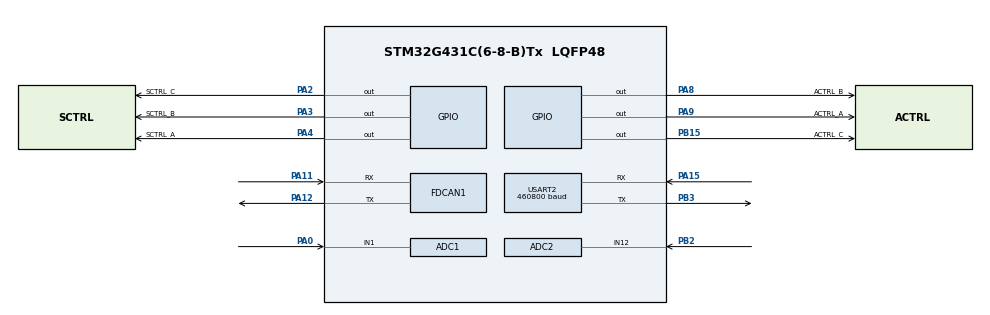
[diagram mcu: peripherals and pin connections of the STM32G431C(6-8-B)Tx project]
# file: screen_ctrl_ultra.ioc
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ADC1.Channel-0\#ChannelRegularConversion=ADC_CHANNEL_1
ADC1.NbrOfConversionFlag=1
ADC1.OffsetNumber-0\#ChannelRegularConversion=ADC_OFFSET_NONE
ADC1.Rank-0\#ChannelRegularConversion=1
ADC1.SamplingTime-0\#ChannelRegularConversion=ADC_SAMPLETIME_2CYCLES_5
ADC1.master=1
ADC2.Channel-0\#ChannelRegularConversion=ADC_CHANNEL_12
ADC2.NbrOfConversionFlag=1
ADC2.OffsetNumber-0\#ChannelRegularConversion=ADC_OFFSET_NONE
ADC2.Rank-0\#ChannelRegularConversion=1
ADC2.SamplingTime-0\#ChannelRegularConversion=ADC_SAMPLETIME_2CYCLES_5
Dma.Request0=USART2_TX
Dma.USART2_TX.0.Direction=DMA_MEMORY_TO_PERIPH
Dma.USART2_TX.0.EventEnable=DISABLE
Dma.USART2_TX.0.Instance=DMA1_Channel1
Dma.USART2_TX.0.MemDataAlignment=DMA_MDATAALIGN_BYTE
Dma.USART2_TX.0.MemInc=DMA_MINC_ENABLE
Dma.USART2_TX.0.Mode=DMA_NORMAL
Dma.USART2_TX.0.PeriphDataAlignment=DMA_PDATAALIGN_BYTE
Dma.USART2_TX.0.PeriphInc=DMA_PINC_DISABLE
Dma.USART2_TX.0.Polarity=HAL_DMAMUX_REQ_GEN_RISING
Dma.USART2_TX.0.Priority=DMA_PRIORITY_LOW
Dma.USART2_TX.0.RequestNumber=1
Dma.USART2_TX.0.SignalID=NONE
Dma.USART2_TX.0.SyncEnable=DISABLE
Dma.USART2_TX.0.SyncPolarity=HAL_DMAMUX_SYNC_NO_EVENT
Dma.USART2_TX.0.SyncRequestNumber=1
Dma.USART2_TX.0.SyncSignalID=NONE
FDCAN1.AutoRetransmission=ENABLE
FDCAN1.NominalPrescaler=10
FDCAN1.NominalTimeSeg1=14
Mcu.Family=STM32G4
Mcu.Name=STM32G431C(6-8-B)Tx
Mcu.Package=LQFP48
NVIC.DMA1_Channel1_IRQn=true\:0\:0\:false\:false\:true\:false\:true
NVIC.FDCAN1_IT0_IRQn=true\:0\:0\:false\:false\:true\:true\:true
NVIC.FDCAN1_IT1_IRQn=true\:0\:0\:false\:false\:true\:true\:true
NVIC.PriorityGroup=NVIC_PRIORITYGROUP_4
PA0.Mode=IN1-Single-Ended
PA0.Signal=ADC1_IN1
PA11.Mode=FDCANFD
PA11.Signal=FDCAN1_RX
PA12.Mode=FDCANFD
PA12.Signal=FDCAN1_TX
PA13.Mode=Serial_Wire
PA13.Signal=SYS_JTMS-SWDIO
PA14.Mode=Serial_Wire
PA14.Signal=SYS_JTCK-SWCLK
PA15.Mode=Asynchronous
PA15.Signal=USART2_RX
PA2.GPIO_Label=SCTRL_C
PA2.Signal=GPIO_Output
PA3.GPIO_Label=SCTRL_B
PA3.Signal=GPIO_Output
PA4.GPIO_Label=SCTRL_A
PA4.Signal=GPIO_Output
PA8.GPIO_Label=ACTRL_B
PA8.Signal=GPIO_Output
PA9.GPIO_Label=ACTRL_A
PA9.Signal=GPIO_Output
PB15.GPIO_Label=ACTRL_C
PB15.Signal=GPIO_Output
PB2.Mode=IN12-Single-Ended
PB2.Signal=ADC2_IN12
PB3.Mode=Asynchronous
PB3.Signal=USART2_TX
PF0-OSC_IN.Mode=HSE-External-Oscillator
PF0-OSC_IN.Signal=RCC_OSC_IN
PF1-OSC_OUT.Mode=HSE-External-Oscillator
PF1-OSC_OUT.Signal=RCC_OSC_OUT
ProjectManager.HeapSize=0x200
ProjectManager.StackSize=0x400
ProjectManager.TargetToolchain=Makefile
RCC.ADC12CLockSelection=RCC_ADC12CLKSOURCE_PLL
RCC.ADC12Freq_Value=170000000
RCC.AHBFreq_Value=170000000
RCC.APB1Freq_Value=170000000
RCC.APB1TimFreq_Value=170000000
RCC.APB2Freq_Value=170000000
RCC.APB2TimFreq_Value=170000000
RCC.CortexFreq_Value=170000000
RCC.EXTERNAL_CLOCK_VALUE=12288000
RCC.HCLKFreq_Value=170000000
RCC.HSE_VALUE=8000000
RCC.HSI48_VALUE=48000000
RCC.HSI_VALUE=16000000
RCC.LSE_VALUE=32768
RCC.PLLM=RCC_PLLM_DIV2
RCC.PLLN=85
RCC.PLLSourceVirtual=RCC_PLLSOURCE_HSE
RCC.SYSCLKFreq_VALUE=170000000
RCC.SYSCLKSource=RCC_SYSCLKSOURCE_PLLCLK
RCC.USBFreq_Value=170000000
RCC.VCOOutputFreq_Value=340000000
TIM1.PeriodNoDither=65535
TIM1.Prescaler=169
USART2.BaudRate=460800
USART2.VirtualMode-Asynchronous=VM_ASYNC
USART2.WordLength=WORDLENGTH_8B
VP_SYS_VS_DBSignals.Mode=DisableDeadBatterySignals
VP_TIM1_VS_ClockSourceINT.Mode=Internal
board=custom

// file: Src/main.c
/* USER CODE BEGIN Header */
/**
  ******************************************************************************
  * @file           : main.c
  * @brief          : Main program body
  ******************************************************************************
  * @attention
  *
  * <h2><center>&copy; Copyright (c) 2026 STMicroelectronics.
  * All rights reserved.</center></h2>
  *
  * This software component is licensed by ST under BSD 3-Clause license,
  * the "License"; You may not use this file except in compliance with the
  * License. You may obtain a copy of the License at:
  *                        opensource.org/licenses/BSD-3-Clause
  *
  ******************************************************************************
  */
/* USER CODE END Header */

#include "main.h"
#include "adc.h"
#include "dma.h"
#include "fdcan.h"
#include "tim.h"
#include "usart.h"
#include "gpio.h"

/* USER CODE BEGIN Includes */
#include "app_core.h"
#include "collect.h"
#include "config.h"
#include "bsp_sensor.h"
#include "bsp_can.h"
#include "bsp_uart.h"
#include "bsp_adc.h"
#include "board_map.h"
#include <stdio.h>
/* USER CODE END Includes */

/* USER CODE BEGIN PD */
/* HSE 路径 PLLM: 使 PLL 输入与 HSI(/4=4MHz)一致, 目标 170MHz(见 SystemClock_Config)
   当前实物晶振 8MHz -> /2; 换晶振时先改 Inc/stm32g4xx_hal_conf.h 的 HSE_VALUE */
#if BOARD_TRY_HSE
  #if   HSE_VALUE == 8000000
    #define BOARD_HSE_PLLM  RCC_PLLM_DIV2
  #elif HSE_VALUE == 16000000
    #define BOARD_HSE_PLLM  RCC_PLLM_DIV4
  #elif HSE_VALUE == 24000000
    #define BOARD_HSE_PLLM  RCC_PLLM_DIV6
  #else
    #error "unsupported HSE_VALUE: add PLLM mapping"
  #endif
#endif
/* USER CODE END PD */

/* USER CODE BEGIN PV */
volatile uint32_t dbg_cr = 0;      // 时钟配置后 RCC->CR
volatile uint32_t dbg_cfgr = 0;    // 时钟配置后 RCC->CFGR
volatile uint32_t dbg_sysclk = 0;  // 时钟配置后 SystemCoreClock
/* USER CODE END PV */

void SystemClock_Config(void);
/* USER CODE BEGIN PFP */
static void SystemClock_Config_HSI(void);
#if BOARD_TRY_HSE
static uint8_t SystemClock_Config_HSE_Try(void);
#endif
/* USER CODE END PFP */

int main(void)
{

  /* MCU Configuration--------------------------------------------------------*/

  /* Reset of all peripherals, Initializes the Flash interface and the Systick. */
  HAL_Init();

  /* Configure the system clock */
  SystemClock_Config();

  /* USER CODE BEGIN SysInit */
  dbg_cr = RCC->CR;
  dbg_cfgr = RCC->CFGR;
  dbg_sysclk = SystemCoreClock;
  /* USER CODE END SysInit */

  /* Initialize all configured peripherals */
  MX_GPIO_Init();
  MX_DMA_Init();
  MX_ADC1_Init();
  MX_ADC2_Init();
  MX_FDCAN1_Init();
  MX_USART2_UART_Init();
  MX_TIM1_Init();
  /* USER CODE BEGIN 2 */
  HAL_Delay(100);
  bsp_sensor_init();
  bsp_uart_init();
  {
    uint16_t raw_len = 0;
    char boot_msg[64];
    for (uint8_t i = 0; i < EDGE_COUNT; i++) raw_len += board_edge_data_count(i);
#if MCU_IS_MASTER
    int n = snprintf(boot_msg, sizeof(boot_msg), "BOOT MASTER UP0 30 RAW=%u\r\n", (unsigned)raw_len);
#else
    int n = snprintf(boot_msg, sizeof(boot_msg), "BOOT SLAVE RAW=%u\r\n", (unsigned)raw_len);
#endif
    HAL_UART_Transmit(&huart2, (uint8_t *)boot_msg, (uint16_t)n, 100);
  }
#if !TEST_FIXED_SENSOR
  bsp_can_init();
  HAL_Delay(100);
#if MCU_IS_MASTER
  app_core_init();
  HAL_Delay(100);
#else
  collect_init();
#endif
#endif
  /* USER CODE END 2 */

  /* Infinite loop */
  while (1)
  {

    /* USER CODE BEGIN 3 */
#if TEST_FIXED_SENSOR
    {
      // 诊断模式：全通道 DC 扫描（ADC1/ADC2 均值+峰谷），每 500ms 一轮
      static uint32_t last_tick = 0;
      if (HAL_GetTick() - last_tick >= 500)
      {
        last_tick = HAL_GetTick();
        bsp_sensor_debug_dump();
      }
    }
#else
#if MCU_IS_MASTER
    app_core_run();
#else
    collect_run();
#endif
#endif
  }
  /* USER CODE END 3 */
}

void SystemClock_Config(void)
{
  RCC_PeriphCLKInitTypeDef PeriphClkInit = {0};

  /** Configure the main internal regulator output voltage
  */
  HAL_PWREx_ControlVoltageScaling(PWR_REGULATOR_VOLTAGE_SCALE1_BOOST);

  /** 170MHz 时钟: 30cm 板先试外部晶振(8MHz), 起振失败自动回退 HSI(16MHz)
  */
#if BOARD_TRY_HSE
  if (!SystemClock_Config_HSE_Try())
  {
    SystemClock_Config_HSI();
  }
#else
  SystemClock_Config_HSI();
#endif
  /** Initializes the peripherals clocks
  */
  PeriphClkInit.PeriphClockSelection = RCC_PERIPHCLK_USART2|RCC_PERIPHCLK_ADC12
                              |RCC_PERIPHCLK_FDCAN;
  PeriphClkInit.Usart2ClockSelection = RCC_USART2CLKSOURCE_PCLK1;
  PeriphClkInit.FdcanClockSelection = RCC_FDCANCLKSOURCE_PCLK1;
  PeriphClkInit.Adc12ClockSelection = RCC_ADC12CLKSOURCE_PLL;
  if (HAL_RCCEx_PeriphCLKConfig(&PeriphClkInit) != HAL_OK)
  {
    Error_Handler();
  }
}

/* USER CODE BEGIN 4 */
/* HSI 16MHz: /4 * 85 / 2 = 170MHz */
static void SystemClock_Config_HSI(void)
{
  RCC_OscInitTypeDef RCC_OscInitStruct = {0};
  RCC_ClkInitTypeDef RCC_ClkInitStruct = {0};

  RCC_OscInitStruct.OscillatorType = RCC_OSCILLATORTYPE_HSI;
  RCC_OscInitStruct.HSIState = RCC_HSI_ON;
  RCC_OscInitStruct.HSICalibrationValue = RCC_HSICALIBRATION_DEFAULT;
  RCC_OscInitStruct.PLL.PLLState = RCC_PLL_ON;
  RCC_OscInitStruct.PLL.PLLSource = RCC_PLLSOURCE_HSI;
  RCC_OscInitStruct.PLL.PLLM = RCC_PLLM_DIV4;
  RCC_OscInitStruct.PLL.PLLN = 85;
  RCC_OscInitStruct.PLL.PLLP = RCC_PLLP_DIV2;
  RCC_OscInitStruct.PLL.PLLQ = RCC_PLLQ_DIV2;
  RCC_OscInitStruct.PLL.PLLR = RCC_PLLR_DIV2;
  if (HAL_RCC_OscConfig(&RCC_OscInitStruct) != HAL_OK)
  {
    Error_Handler();
  }

  RCC_ClkInitStruct.ClockType = RCC_CLOCKTYPE_HCLK|RCC_CLOCKTYPE_SYSCLK
                              |RCC_CLOCKTYPE_PCLK1|RCC_CLOCKTYPE_PCLK2;
  RCC_ClkInitStruct.SYSCLKSource = RCC_SYSCLKSOURCE_PLLCLK;
  RCC_ClkInitStruct.AHBCLKDivider = RCC_SYSCLK_DIV1;
  RCC_ClkInitStruct.APB1CLKDivider = RCC_HCLK_DIV1;
  RCC_ClkInitStruct.APB2CLKDivider = RCC_HCLK_DIV1;
  if (HAL_RCC_ClockConfig(&RCC_ClkInitStruct, FLASH_LATENCY_8) != HAL_OK)
  {
    Error_Handler();
  }
}

#if BOARD_TRY_HSE
/* HSE 8MHz: 8/2 * 85 / 2 = 170MHz。返回 1=成功; 0=失败(已关 HSE, 调用者回退 HSI) */
static uint8_t SystemClock_Config_HSE_Try(void)
{
  RCC_OscInitTypeDef RCC_OscInitStruct = {0};
  RCC_ClkInitTypeDef RCC_ClkInitStruct = {0};

  RCC_OscInitStruct.OscillatorType = RCC_OSCILLATORTYPE_HSE;
  RCC_OscInitStruct.HSEState = RCC_HSE_ON;
  RCC_OscInitStruct.PLL.PLLState = RCC_PLL_ON;
  RCC_OscInitStruct.PLL.PLLSource = RCC_PLLSOURCE_HSE;
  RCC_OscInitStruct.PLL.PLLM = BOARD_HSE_PLLM;
  RCC_OscInitStruct.PLL.PLLN = 85;
  RCC_OscInitStruct.PLL.PLLP = RCC_PLLP_DIV2;
  RCC_OscInitStruct.PLL.PLLQ = RCC_PLLQ_DIV2;
  RCC_OscInitStruct.PLL.PLLR = RCC_PLLR_DIV2;
  if (HAL_RCC_OscConfig(&RCC_OscInitStruct) != HAL_OK)
  {
    /* HSE 起振失败(板上未焊晶振等): 关掉 HSE 再回退, SYSCLK 仍在复位默认 HSI 上 */
    RCC_OscInitStruct.OscillatorType = RCC_OSCILLATORTYPE_HSE;
    RCC_OscInitStruct.HSEState = RCC_HSE_OFF;
    RCC_OscInitStruct.PLL.PLLState = RCC_PLL_NONE;
    (void)HAL_RCC_OscConfig(&RCC_OscInitStruct);
    return 0;
  }

  RCC_ClkInitStruct.ClockType = RCC_CLOCKTYPE_HCLK|RCC_CLOCKTYPE_SYSCLK
                              |RCC_CLOCKTYPE_PCLK1|RCC_CLOCKTYPE_PCLK2;
  RCC_ClkInitStruct.SYSCLKSource = RCC_SYSCLKSOURCE_PLLCLK;
  RCC_ClkInitStruct.AHBCLKDivider = RCC_SYSCLK_DIV1;
  RCC_ClkInitStruct.APB1CLKDivider = RCC_HCLK_DIV1;
  RCC_ClkInitStruct.APB2CLKDivider = RCC_HCLK_DIV1;
  if (HAL_RCC_ClockConfig(&RCC_ClkInitStruct, FLASH_LATENCY_8) != HAL_OK)
  {
    return 0;
  }
  return 1;
}
#endif
/* USER CODE END 4 */

void Error_Handler(void)
{
}

/************************ (C) COPYRIGHT STMicroelectronics *****END OF FILE****/
